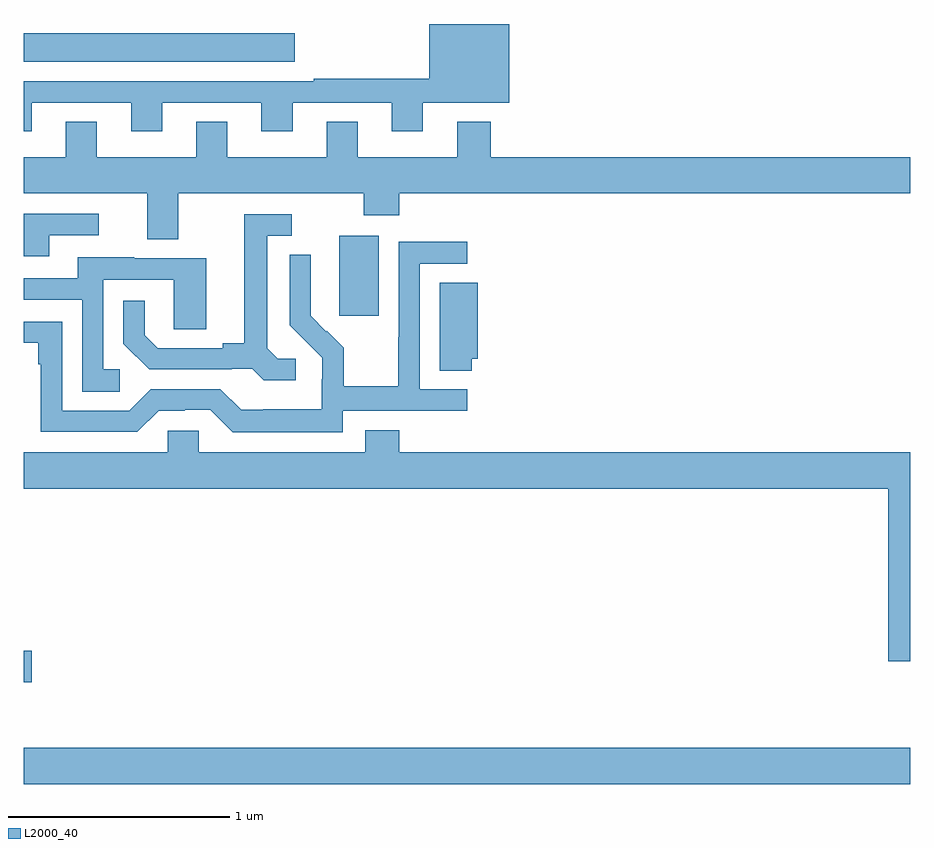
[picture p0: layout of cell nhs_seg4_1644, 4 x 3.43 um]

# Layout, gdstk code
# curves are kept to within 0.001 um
import gdstk
lib = gdstk.Library(unit=1e-6, precision=1e-09)
def R(c, l, rs):  # rectangles x0, y0, x1, y1
    for r in rs: c.add(gdstk.rectangle(r[:2], r[2:], *l))
def P(c, l, *ps):  # polygons
    for p in ps: c.add(gdstk.Polygon(p, *l))
L2000_40 = (2000, 40)

nhs_seg4_1644 = lib.new_cell('nhs_seg4_1644')
R(nhs_seg4_1644, L2000_40, [(195,811.472,199,811.636), (195,811.93,195.037,812.072), (196.424,813.585,196.603,813.946), (195,814.73,196.222,814.858)])
P(nhs_seg4_1644, L2000_40, [(195.037,814.545),(195.485,814.545),(195.485,814.416),(195.625,814.416),(195.625,814.545),(196.073,814.545),(196.073,814.416),(196.213,814.416),(196.213,814.545),(196.661,814.545),(196.661,814.416),(196.801,814.416),(196.801,814.544),(197.191,814.544),(197.191,814.9),(196.829,814.9),(196.829,814.654),(196.309,814.654),(196.309,814.641),(195,814.641),(195,814.416),(195.037,814.416)],
  [(195.697,814.136),(196.534,814.136),(196.534,814.037),(196.694,814.037),(196.694,814.136),(199,814.136),(199,814.3),(197.108,814.3),(197.108,814.459),(196.955,814.459),(196.955,814.3),(196.507,814.3),(196.507,814.46),(196.367,814.46),(196.367,814.3),(195.919,814.3),(195.919,814.46),(195.779,814.46),(195.779,814.3),(195.331,814.3),(195.331,814.46),(195.191,814.46),(195.191,814.3),(195,814.3),(195,814.136),(195.557,814.136),(195.557,813.928),(195.697,813.928)],
  [(195.115,813.948),(195.34,813.948),(195.34,814.044),(195,814.044),(195,813.852),(195.115,813.852)],
  [(196.228,813.39),(196.146,813.39),(196.099,813.437),(196.099,813.945),(196.21,813.945),(196.21,814.041),(195.995,814.041),(195.995,813.461),(195.899,813.461),(195.899,813.438),(195.604,813.438),(195.547,813.495),(195.547,813.652),(195.45,813.652),(195.45,813.458),(195.566,813.342),(195.938,813.342),(195.938,813.345),(196.032,813.345),(196.084,813.293),(196.228,813.293)],
  [(196.44,813.156),(197.002,813.156),(197.002,813.252),(196.788,813.252),(196.788,813.819),(197.002,813.819),(197.002,813.918),(196.692,813.918),(196.692,813.488),(196.69,813.488),(196.69,813.265),(196.445,813.265),(196.445,813.439),(196.368,813.516),(196.365,813.513),(196.295,813.584),(196.296,813.86),(196.2,813.86),(196.2,813.542),(196.346,813.394),(196.346,813.297),(196.344,813.297),(196.344,813.163),(196.081,813.163),(196.081,813.159),(195.981,813.159),(195.888,813.252),(195.573,813.252),(195.477,813.156),(195.174,813.156),(195.174,813.558),(195,813.558),(195,813.462),(195.065,813.462),(195.065,813.365),(195.078,813.365),(195.078,813.06),(195.513,813.06),(195.609,813.156),(195.728,813.156),(195.728,813.159),(195.843,813.159),(195.943,813.059),(196.44,813.059)],
  [(195.433,813.342),(195.36,813.342),(195.36,813.747),(195.678,813.747),(195.678,813.523),(195.823,813.523),(195.823,813.843),(195.499,813.843),(195.499,813.847),(195.245,813.847),(195.245,813.753),(195,813.753),(195,813.657),(195.264,813.657),(195.264,813.241),(195.433,813.241)],
  [(197.021,813.39),(197.048,813.39),(197.048,813.734),(196.877,813.734),(196.877,813.337),(197.021,813.337)],
  [(199,812.968),(196.694,812.968),(196.694,813.067),(196.541,813.067),(196.541,812.968),(195.789,812.968),(195.789,813.066),(195.651,813.066),(195.651,812.968),(195,812.968),(195,812.804),(198.899,812.804),(198.899,812.025),(199,812.025)])

lib.write_gds('nhs_seg4_1644.gds')
